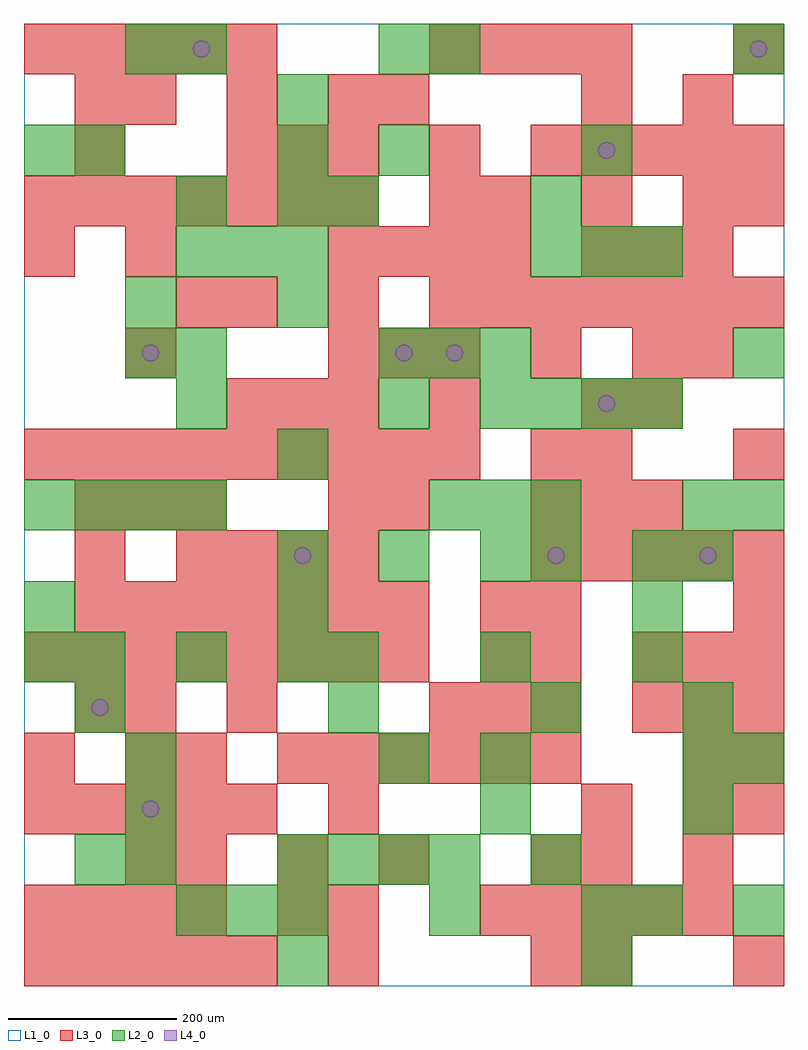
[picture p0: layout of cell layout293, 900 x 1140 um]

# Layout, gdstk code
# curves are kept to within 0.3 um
import gdstk
lib = gdstk.Library(unit=1e-6, precision=1e-09)
def R(c, l, rs):  # rectangles x0, y0, x1, y1
    for r in rs: c.add(gdstk.rectangle(r[:2], r[2:], *l))
def A(c, l, x, y, w, h, nx, ny, dx, dy):  # array of equal rectangles
    R(c, l, [(x+i*dx, y+j*dy, x+i*dx+w, y+j*dy+h) for i in range(nx) for j in range(ny)])
def P(c, l, *ps):  # polygons
    for p in ps: c.add(gdstk.Polygon(p, *l))
L1_0 = (1, 0)
L2_0 = (2, 0)
L3_0 = (3, 0)
L4_0 = (4, 0)

layout293 = lib.new_cell('layout293')
R(layout293, L1_0, [(0,0,900,1140)])
A(layout293, L2_0, 180, 60, 60, 60, 3, 2, 60, 780)
A(layout293, L2_0, 120, 120, 60, 60, 1, 3, 0, 60)
A(layout293, L2_0, 300, 120, 60, 60, 4, 1, 60, 0)
A(layout293, L2_0, 600, 120, 60, 60, 1, 3, 0, 180)
A(layout293, L2_0, 780, 180, 60, 60, 1, 3, 0, 60)
A(layout293, L2_0, 60, 360, 60, 60, 3, 1, 120, 0)
A(layout293, L2_0, 360, 360, 60, 60, 3, 1, 180, 0)
A(layout293, L2_0, 300, 420, 60, 60, 1, 3, 0, 180)
A(layout293, L2_0, 300, 480, 60, 60, 3, 1, 120, 0)
A(layout293, L2_0, 0, 540, 60, 60, 4, 1, 60, 0)
A(layout293, L2_0, 480, 540, 60, 60, 3, 1, 60, 0)
A(layout293, L2_0, 540, 660, 60, 60, 4, 1, 60, 0)
A(layout293, L2_0, 180, 720, 60, 60, 1, 3, 0, 180)
A(layout293, L2_0, 420, 720, 60, 60, 3, 1, 60, 0)
A(layout293, L2_0, 600, 840, 60, 60, 3, 1, 60, 0)
A(layout293, L2_0, 300, 900, 60, 60, 1, 3, 0, 60)
R(layout293, L2_0, [(300,0,360,60), (660,0,720,60), (480,60,540,120), (660,60,720,120), (720,60,780,120), (840,60,900,120), (60,120,120,180), (540,180,600,240), (420,240,480,300), (540,240,600,300), (840,240,900,300), (60,300,120,360), (360,300,420,360), (0,360,60,420), (0,420,60,480), (720,420,780,480), (720,480,780,540), (780,480,840,540), (780,540,840,600), (840,540,900,600), (180,660,240,720), (420,660,480,720), (120,720,180,780), (840,720,900,780), (120,780,180,840), (360,900,420,960), (600,900,660,960), (0,960,60,1020), (60,960,120,1020), (420,960,480,1020), (660,960,720,1020), (120,1080,180,1140), (420,1080,480,1140), (480,1080,540,1140), (840,1080,900,1140)])
A(layout293, L3_0, 0, 0, 60, 60, 5, 2, 60, 180)
A(layout293, L3_0, 0, 60, 60, 60, 4, 1, 60, 0)
A(layout293, L3_0, 540, 60, 60, 60, 5, 1, 60, 0)
A(layout293, L3_0, 180, 120, 60, 60, 3, 1, 120, 0)
A(layout293, L3_0, 780, 120, 60, 60, 1, 3, 0, 60)
A(layout293, L3_0, 300, 240, 60, 60, 6, 1, 60, 0)
A(layout293, L3_0, 840, 240, 60, 60, 1, 3, 0, 180)
A(layout293, L3_0, 480, 300, 60, 60, 3, 1, 60, 0)
A(layout293, L3_0, 720, 300, 60, 60, 3, 2, 60, 60)
A(layout293, L3_0, 0, 360, 60, 60, 8, 1, 60, 0)
A(layout293, L3_0, 60, 420, 60, 60, 7, 1, 60, 0)
A(layout293, L3_0, 180, 480, 60, 60, 4, 1, 60, 0)
A(layout293, L3_0, 600, 480, 60, 60, 5, 2, 60, 480)
A(layout293, L3_0, 60, 540, 60, 60, 3, 1, 60, 0)
A(layout293, L3_0, 600, 540, 60, 60, 3, 1, 60, 0)
A(layout293, L3_0, 0, 600, 60, 60, 9, 1, 60, 0)
A(layout293, L3_0, 240, 660, 60, 60, 3, 2, 60, 300)
A(layout293, L3_0, 360, 720, 60, 60, 3, 1, 60, 0)
A(layout293, L3_0, 240, 780, 60, 60, 3, 1, 120, 0)
A(layout293, L3_0, 540, 780, 60, 60, 6, 1, 60, 0)
A(layout293, L3_0, 360, 840, 60, 60, 4, 1, 60, 0)
A(layout293, L3_0, 660, 840, 60, 60, 3, 1, 60, 0)
A(layout293, L3_0, 0, 900, 60, 60, 7, 1, 60, 0)
A(layout293, L3_0, 540, 900, 60, 60, 3, 1, 120, 0)
A(layout293, L3_0, 120, 1020, 60, 60, 3, 1, 120, 0)
A(layout293, L3_0, 0, 1080, 60, 60, 5, 1, 60, 0)
A(layout293, L3_0, 480, 1080, 60, 60, 4, 1, 60, 0)
R(layout293, L3_0, [(360,0,420,60), (600,0,660,60), (660,0,720,60), (840,0,900,60), (300,60,360,120), (360,60,420,120), (120,120,180,180), (600,120,660,180), (660,120,720,180), (360,180,420,240), (660,180,720,240), (840,180,900,240), (0,240,60,300), (120,240,180,300), (180,240,240,300), (60,300,120,360), (120,300,180,360), (240,300,300,360), (540,360,600,420), (600,360,660,420), (540,420,600,480), (600,420,660,480), (60,480,120,540), (360,540,420,600), (420,540,480,600), (600,600,660,660), (660,600,720,660), (480,660,540,720), (660,660,720,720), (720,660,780,720), (120,720,180,780), (600,720,660,780), (720,720,780,780), (780,720,840,780), (180,780,240,840), (0,840,60,900), (120,840,180,900), (480,900,540,960), (840,900,900,960), (60,960,120,1020), (480,960,540,1020), (60,1020,120,1080), (420,1020,480,1080), (660,1020,720,1080), (780,1020,840,1080), (840,1080,900,1140)])
P(layout293, L4_0, [(100,330),(99.239,333.827),(97.071,337.071),(93.827,339.239),(90,340),(86.173,339.239),(82.929,337.071),(80.761,333.827),(80,330),(80.761,326.173),(82.929,322.929),(86.173,320.761),(90,320),(93.827,320.761),(97.071,322.929),(99.239,326.173)],
  [(160,210),(159.239,213.827),(157.071,217.071),(153.827,219.239),(150,220),(146.173,219.239),(142.929,217.071),(140.761,213.827),(140,210),(140.761,206.173),(142.929,202.929),(146.173,200.761),(150,200),(153.827,200.761),(157.071,202.929),(159.239,206.173)],
  [(160,750),(159.239,753.827),(157.071,757.071),(153.827,759.239),(150,760),(146.173,759.239),(142.929,757.071),(140.761,753.827),(140,750),(140.761,746.173),(142.929,742.929),(146.173,740.761),(150,740),(153.827,740.761),(157.071,742.929),(159.239,746.173)],
  [(220,1110),(219.239,1113.827),(217.071,1117.071),(213.827,1119.239),(210,1120),(206.173,1119.239),(202.929,1117.071),(200.761,1113.827),(200,1110),(200.761,1106.173),(202.929,1102.929),(206.173,1100.761),(210,1100),(213.827,1100.761),(217.071,1102.929),(219.239,1106.173)],
  [(340,510),(339.239,513.827),(337.071,517.071),(333.827,519.239),(330,520),(326.173,519.239),(322.929,517.071),(320.761,513.827),(320,510),(320.761,506.173),(322.929,502.929),(326.173,500.761),(330,500),(333.827,500.761),(337.071,502.929),(339.239,506.173)],
  [(460,750),(459.239,753.827),(457.071,757.071),(453.827,759.239),(450,760),(446.173,759.239),(442.929,757.071),(440.761,753.827),(440,750),(440.761,746.173),(442.929,742.929),(446.173,740.761),(450,740),(453.827,740.761),(457.071,742.929),(459.239,746.173)],
  [(520,750),(519.239,753.827),(517.071,757.071),(513.827,759.239),(510,760),(506.173,759.239),(502.929,757.071),(500.761,753.827),(500,750),(500.761,746.173),(502.929,742.929),(506.173,740.761),(510,740),(513.827,740.761),(517.071,742.929),(519.239,746.173)],
  [(640,510),(639.239,513.827),(637.071,517.071),(633.827,519.239),(630,520),(626.173,519.239),(622.929,517.071),(620.761,513.827),(620,510),(620.761,506.173),(622.929,502.929),(626.173,500.761),(630,500),(633.827,500.761),(637.071,502.929),(639.239,506.173)],
  [(700,690),(699.239,693.827),(697.071,697.071),(693.827,699.239),(690,700),(686.173,699.239),(682.929,697.071),(680.761,693.827),(680,690),(680.761,686.173),(682.929,682.929),(686.173,680.761),(690,680),(693.827,680.761),(697.071,682.929),(699.239,686.173)],
  [(700,990),(699.239,993.827),(697.071,997.071),(693.827,999.239),(690,1000),(686.173,999.239),(682.929,997.071),(680.761,993.827),(680,990),(680.761,986.173),(682.929,982.929),(686.173,980.761),(690,980),(693.827,980.761),(697.071,982.929),(699.239,986.173)],
  [(820,510),(819.239,513.827),(817.071,517.071),(813.827,519.239),(810,520),(806.173,519.239),(802.929,517.071),(800.761,513.827),(800,510),(800.761,506.173),(802.929,502.929),(806.173,500.761),(810,500),(813.827,500.761),(817.071,502.929),(819.239,506.173)],
  [(880,1110),(879.239,1113.827),(877.071,1117.071),(873.827,1119.239),(870,1120),(866.173,1119.239),(862.929,1117.071),(860.761,1113.827),(860,1110),(860.761,1106.173),(862.929,1102.929),(866.173,1100.761),(870,1100),(873.827,1100.761),(877.071,1102.929),(879.239,1106.173)])

lib.write_gds('layout293.gds')
